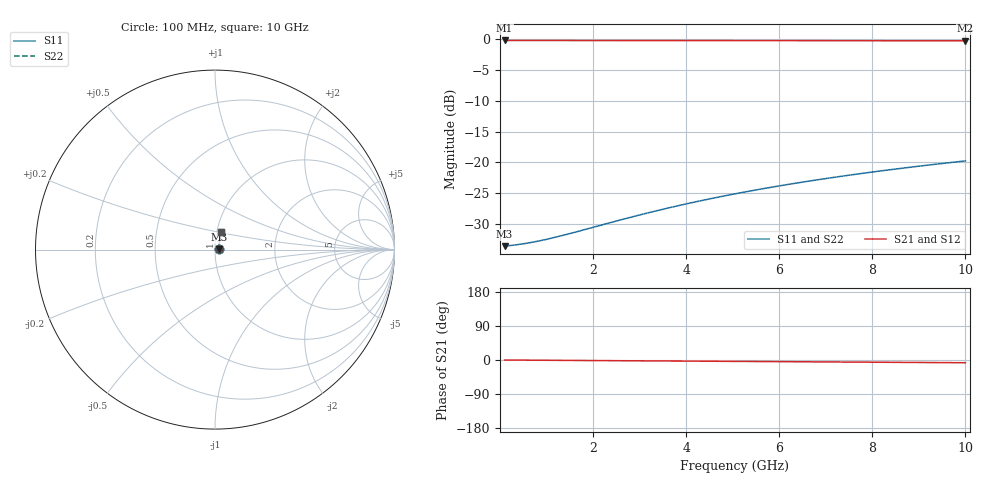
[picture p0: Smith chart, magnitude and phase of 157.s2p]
# Hz S RI R 50.00
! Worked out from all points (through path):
!   100 points, 100 MHz to 10 GHz, reference 50 ohm
!   highest |S21| = -0.18 dB at 100 MHz (marker M1); lowest = -0.2 dB at 10 GHz (marker M2)
!   group delay of S21, straight-line fit = 2 ps
!   lowest |S11| = -33.6 dB at 100 MHz (marker M3), VSWR 1.04, Z = 52.1 + j0.102 ohm
!   |S11| at or under -10 dB: start of sweep to end of sweep
!   |S22| runs from -33.6 to -19.8 dB; largest |S21 - S12| = 0
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1e8  0.0208 0.000983  0.9792 -0.00124  0.9792 -0.00124  0.0208 0.000983
3e8  0.021 0.00295  0.979 -0.00371  0.979 -0.00371  0.021 0.00295
5e8  0.0212 0.00491  0.9788 -0.00619  0.9788 -0.00619  0.0212 0.00491
8e8  0.0214 0.00785  0.9786 -0.0099  0.9786 -0.0099  0.0214 0.00785
1e9  0.0215 0.00981  0.9785 -0.0124  0.9785 -0.0124  0.0215 0.00981
1.2e9  0.0216 0.0118  0.9783 -0.0148  0.9783 -0.0148  0.0216 0.0118
1.5e9  0.0218 0.0147  0.9781 -0.0185  0.9781 -0.0185  0.0218 0.0147
1.8e9  0.022 0.0176  0.9779 -0.0222  0.9779 -0.0222  0.022 0.0176
2.7e9  0.0227 0.0264  0.9772 -0.0333  0.9772 -0.0333  0.0227 0.0264
3.1e9  0.0231 0.0304  0.9769 -0.0383  0.9769 -0.0383  0.0231 0.0304
3.4e9  0.0234 0.0333  0.9766 -0.042  0.9766 -0.042  0.0234 0.0333
3.8e9  0.0238 0.0372  0.9762 -0.0469  0.9762 -0.0469  0.0238 0.0372
4.2e9  0.0242 0.0411  0.9757 -0.0518  0.9757 -0.0518  0.0242 0.0411
4.6e9  0.0247 0.0449  0.9752 -0.0567  0.9752 -0.0567  0.0247 0.0449
5.1e9  0.0254 0.0498  0.9745 -0.0628  0.9745 -0.0628  0.0254 0.0498
5.5e9  0.0259 0.0537  0.9739 -0.0677  0.9739 -0.0677  0.0259 0.0537
5.9e9  0.0265 0.0575  0.9733 -0.0726  0.9733 -0.0726  0.0265 0.0575
6.7e9  0.0279 0.0652  0.972 -0.0824  0.972 -0.0824  0.0279 0.0652
7.5e9  0.0293 0.0729  0.9705 -0.0921  0.9705 -0.0921  0.0293 0.0729
8.4e9  0.0312 0.0815  0.9686 -0.1029  0.9686 -0.1029  0.0312 0.0815
9.2e9  0.0329 0.089  0.9668 -0.1126  0.9668 -0.1126  0.0329 0.089
1e10  0.0349 0.0966  0.9648 -0.1221  0.9648 -0.1221  0.0349 0.0966
